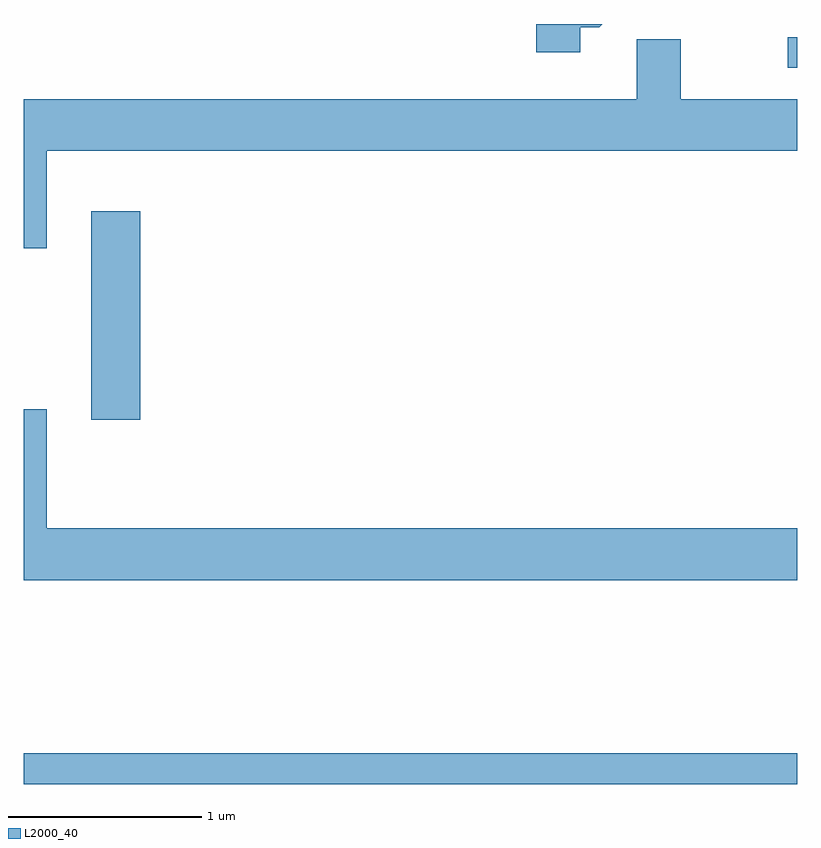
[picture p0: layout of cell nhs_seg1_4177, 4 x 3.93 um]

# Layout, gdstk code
import gdstk
lib = gdstk.Library(unit=1e-6, precision=1e-09)
def R(c, l, rs):  # rectangles x0, y0, x1, y1
    for r in rs: c.add(gdstk.rectangle(r[:2], r[2:], *l))
def P(c, l, *ps):  # polygons
    for p in ps: c.add(gdstk.Polygon(p, *l))
L2000_40 = (2000, 40)

nhs_seg1_4177 = lib.new_cell('nhs_seg1_4177')
R(nhs_seg1_4177, L2000_40, [(309.611,971.781,313.611,971.939), (309.961,973.666,310.214,974.744), (313.563,975.486,313.611,975.644)])
P(nhs_seg1_4177, L2000_40, [(312.489,975.696),(312.587,975.696),(312.603,975.712),(312.261,975.712),(312.261,975.566),(312.489,975.566)],
  [(309.729,975.056),(313.611,975.056),(313.611,975.324),(313.009,975.324),(313.009,975.634),(312.781,975.634),(312.781,975.324),(309.611,975.324),(309.611,974.551),(309.729,974.551)],
  [(313.611,973.104),(309.729,973.104),(309.729,973.719),(309.611,973.719),(309.611,972.836),(313.611,972.836)])

lib.write_gds('nhs_seg1_4177.gds')
